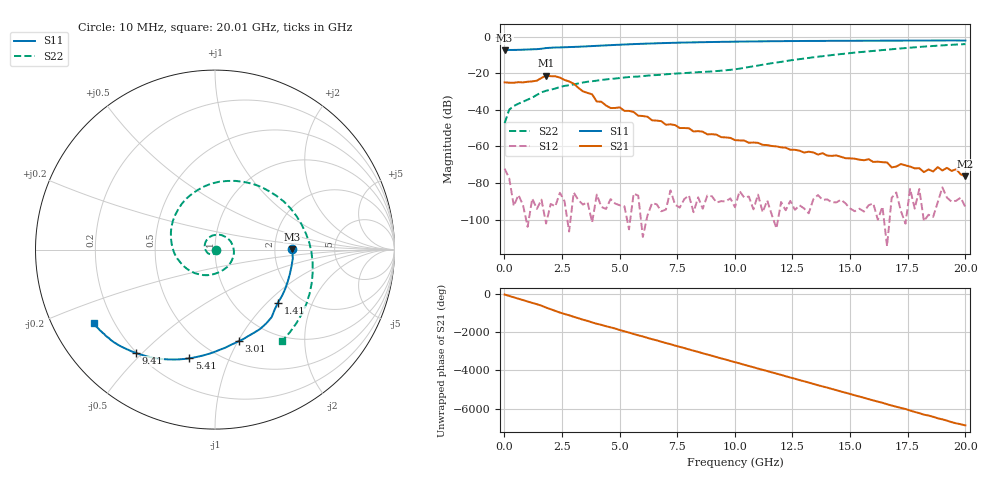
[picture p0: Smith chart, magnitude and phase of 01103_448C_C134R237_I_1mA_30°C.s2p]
!;Filter: kein Filter
!auto
!3/21/2019 9:26:39 AM
!3/21/2019 9:26:51 AM
!SP-Measurements Prober G4
!SP-Measurements Prober G4
!01103_448C
!134
!237
!12
!30
!-20
!0.00099996
!1.65
!0.05816927
!0.05816927
# Hz S  RI  R 50
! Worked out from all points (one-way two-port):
!   101 points, 10 MHz to 20.01 GHz, reference 50 ohm
!   highest |S21| = -21.28 dB at 1.81 GHz (marker M1); lowest = -76.4 dB at 20.01 GHz (marker M2)
!   lowest |S11| = -7.3 dB at 10 MHz (marker M3), VSWR 2.51, Z = 125 + j1.16 ohm
!   |S11| at or under -10 dB: nowhere
!   |S22| runs from -47.3 to -4.0 dB; largest |S21 - S12| = 0.086
!   S11 on the Smith chart (normalised r, x): 10 MHz: 2.51, +0.02; 1.41 GHz: 1.55, -1.16; 3.01 GHz: 0.71, -1.01; 5.41 GHz: 0.37, -0.72; 9.41 GHz: 0.20, -0.48; 20.01 GHz: 0.13, -0.27
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1e7  0.43 0.00376  0.0526 -0.0213  0.000202 0.00014  0.00431 0.000289
2.1e8  0.4334 -0.0491  -0.00578 -0.0551  3.82e-05 -0.000129  0.00914 -0.0044
4.1e8  0.4262 -0.0942  -0.0539 -0.0115  1.69e-05 1.65e-05  0.0105 -0.00723
1.01e9  0.3902 -0.2214  0.0524 -0.0268  6.22e-06 -1.07e-06  0.00298 -0.0188
1.41e9  0.3506 -0.2954  -0.0614 -0.0136  1.71e-05 9.65e-06  -0.00777 -0.0245
1.81e9  0.3155 -0.3767  0.0837 0.0207  -5.09e-06 5.85e-06  -0.0179 -0.0281
2.21e9  0.2506 -0.4426  -0.0773 -0.0303  7.53e-06 2.16e-05  -0.0291 -0.025
3.01e9  0.1321 -0.5106  -0.0168 -0.0491  -2.86e-06 -5.47e-05  -0.0487 -0.00882
3.41e9  0.0821 -0.5338  -0.00529 0.0317  2.56e-05 -1.21e-06  -0.0558 0.00479
4.61e9  -0.0573 -0.5874  0.00595 0.00953  3.36e-05 1.34e-05  -0.0474 0.0519
5.41e9  -0.1425 -0.6056  -0.00789 0.00505  5.34e-06 6.99e-07  -0.0177 0.0769
6.81e9  -0.2708 -0.6112  0.00444 0.00211  -1.65e-05 -3.02e-06  0.0591 0.0702
9.41e9  -0.4414 -0.5755  -0.00106 -0.00145  -1.29e-05 -2.91e-05  0.0669 -0.0975
1.001e10  -0.4704 -0.5643  0.00122 0.000849  -1.85e-05 1.13e-05  0.0191 -0.1272
1.341e10  -0.5858 -0.4989  0.00064 -0.000244  -1.49e-05 3.27e-05  -0.2425 0.1275
1.521e10  -0.6212 -0.4676  -6.88e-05 0.000456  8.3e-06 -1.47e-05  -0.0191 0.3681
1.661e10  -0.6406 -0.4505  0.000362 -4.87e-05  -1.43e-06 -1.2e-06  0.2983 0.3272
1.681e10  -0.6436 -0.4473  7.12e-05 -0.000258  -3.8e-05 1.04e-05  0.3421 0.3
1.721e10  -0.6476 -0.442  -0.000308 0.000118  -1.71e-05 9.72e-07  0.4209 0.2296
1.841e10  -0.6638 -0.426  -0.000117 0.000204  -1.25e-05 -5.29e-06  0.5439 -0.0741
1.961e10  -0.6766 -0.4106  7.12e-05 0.000227  -2.86e-05 -1.59e-05  0.4521 -0.412
2.001e10  -0.6742 -0.4062  0.000117 -9.49e-05  -1.84e-05 1.15e-05  0.3755 -0.507
